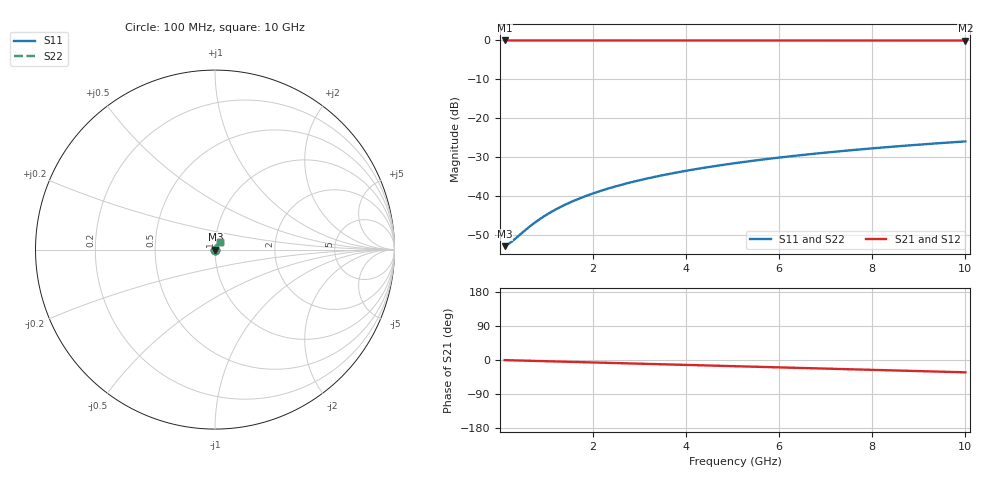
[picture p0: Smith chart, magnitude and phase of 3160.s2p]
# Hz S RI R 50.00
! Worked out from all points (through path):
!   100 points, 100 MHz to 10 GHz, reference 50 ohm
!   highest |S21| = -0.02 dB at 100 MHz (marker M1); lowest = 0.0 dB at 10 GHz (marker M2)
!   group delay of S21, straight-line fit = 9.04 ps
!   lowest |S11| = -52.7 dB at 100 MHz (marker M3), VSWR 1.00, Z = 50.2 + j0.0526 ohm
!   |S11| at or under -10 dB: start of sweep to end of sweep
!   |S22| runs from -52.7 to -25.9 dB; largest |S21 - S12| = 0
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1e8  0.00225 0.000524  0.9977 -0.00564  0.9977 -0.00564  0.00225 0.000524
2e8  0.00227 0.00105  0.9977 -0.0113  0.9977 -0.0113  0.00227 0.00105
3e8  0.00229 0.00157  0.9976 -0.0169  0.9976 -0.0169  0.00229 0.00157
5e8  0.00235 0.00262  0.9973 -0.0282  0.9973 -0.0282  0.00235 0.00262
7e8  0.00243 0.00366  0.9969 -0.0395  0.9969 -0.0395  0.00243 0.00366
8e8  0.00248 0.00418  0.9966 -0.0451  0.9966 -0.0451  0.00248 0.00418
1e9  0.00259 0.00522  0.996 -0.0564  0.996 -0.0564  0.00259 0.00522
1.2e9  0.00273 0.00626  0.9953 -0.0676  0.9953 -0.0676  0.00273 0.00626
1.4e9  0.00289 0.00729  0.9945 -0.0789  0.9945 -0.0789  0.00289 0.00729
1.6e9  0.00307 0.00832  0.9935 -0.0901  0.9935 -0.0901  0.00307 0.00832
1.8e9  0.00327 0.00934  0.9924 -0.1013  0.9924 -0.1013  0.00327 0.00934
2.1e9  0.00362 0.0109  0.9905 -0.1182  0.9905 -0.1182  0.00362 0.0109
2.5e9  0.00416 0.0129  0.9875 -0.1405  0.9875 -0.1405  0.00416 0.0129
2.9e9  0.0048 0.0149  0.984 -0.1629  0.984 -0.1629  0.0048 0.0149
3.4e9  0.00572 0.0173  0.979 -0.1907  0.979 -0.1907  0.00572 0.0173
4.2e9  0.00747 0.0211  0.9692 -0.2348  0.9692 -0.2348  0.00747 0.0211
5.1e9  0.00984 0.0251  0.9558 -0.284  0.9558 -0.284  0.00984 0.0251
5.9e9  0.0123 0.0285  0.9417 -0.3271  0.9417 -0.3271  0.0123 0.0285
6.7e9  0.015 0.0316  0.9257 -0.3696  0.9257 -0.3696  0.015 0.0316
7.5e9  0.0181 0.0345  0.9077 -0.4113  0.9077 -0.4113  0.0181 0.0345
8.4e9  0.0218 0.0374  0.8852 -0.4573  0.8852 -0.4573  0.0218 0.0374
1e10  0.0291 0.0416  0.8394 -0.536  0.8394 -0.536  0.0291 0.0416
